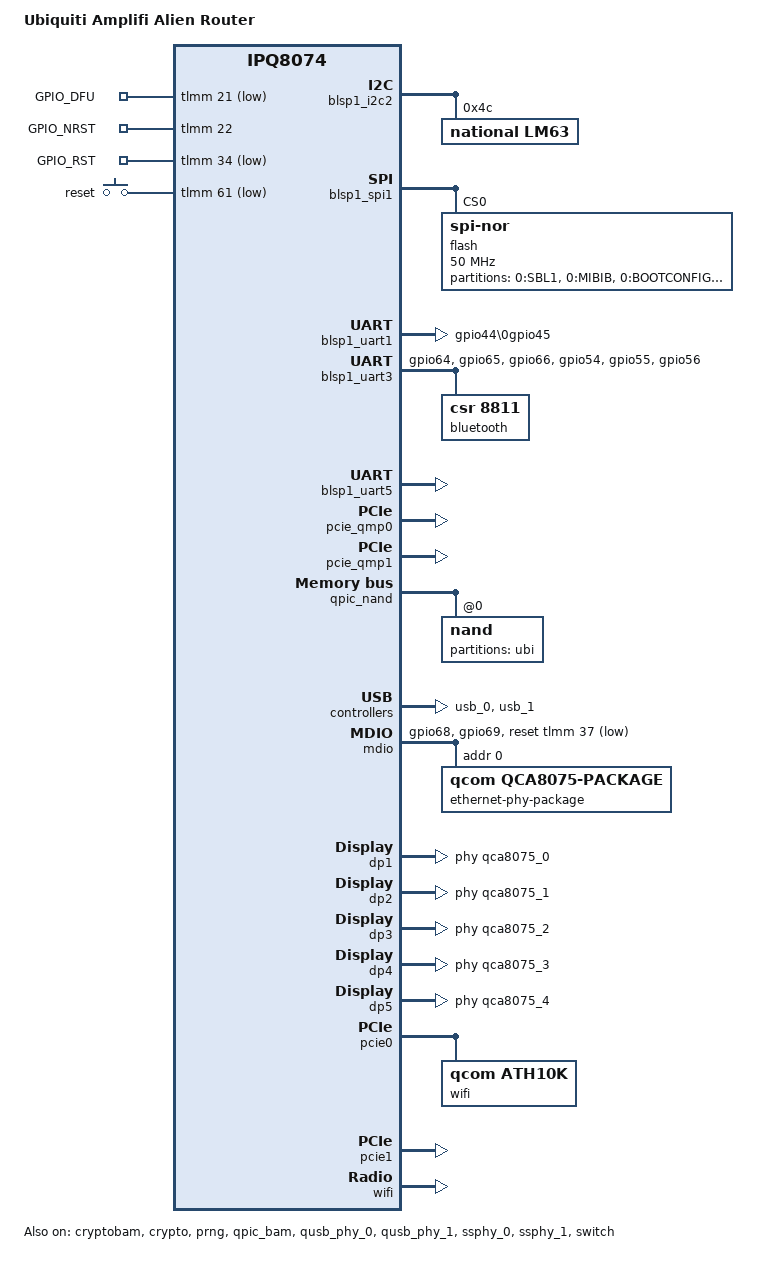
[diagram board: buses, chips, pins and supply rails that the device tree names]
// SPDX-License-Identifier: GPL-2.0-or-later OR MIT
/* Copyright (c) 2022, Robert Marko <robimarko@gmail.com>
altered by Jonathan Brophy <professor_jonny@hotmail.com>
to suit the Ubiquiti Amplifi Alien Router target */

/dts-v1/;

#include "ipq8074.dtsi"
#include "ipq8074-hk-cpu.dtsi"
#include "ipq8074-ess.dtsi"
#include <dt-bindings/gpio/gpio.h>
#include <dt-bindings/input/input.h>
#include <dt-bindings/leds/common.h>

/ {
	model = "Ubiquiti Amplifi Alien Router";
	compatible = "ubiquiti,afi-aln-r", "qcom,ipq8074";

	aliases {
		/* ethernet0 = &dp1; present in stock device but also using nvmem?
		ethernet1 = &dp2;
		ethernet2 = &dp3;
		ethernet3 = &dp4;
		ethernet4 = &dp5; */
		label-mac-device = &dp5;
		serial0 = &blsp1_uart5;
		serial1 = &blsp1_uart3;
		serial2 = &blsp1_uart1;
	};

	chosen {
		stdout-path = "serial0:115200n8";
		bootargs-append = "ubi.mtd=ubi rootfstype=squashfs rootwait swiotlb=1 clk_ignore_unused";
	};

	lcm_boot0 {
		compatible = "gpio-export";
		pinctrl-names = "default";
		pinctrl-0 = <&lcm_pins>;

		/* lcm mode setting:
		   # set dfu mode
		   echo 1 > /sys/class/gpio/gpio${GPIO_DFU}/value
		   echo 0 > /sys/class/gpio/gpio${GPIO_NRST}/value
		   echo 1 > /sys/class/gpio/gpio${GPIO_RST}/value
		   sleep 1
		   echo 1 > /sys/class/gpio/gpio${GPIO_NRST}/value
		   echo 0 > /sys/class/gpio/gpio${GPIO_RST}/value

		   # set run mode
		   echo 0 > /sys/class/gpio/gpio${GPIO_NRST}/value
		   echo 1 > /sys/class/gpio/gpio${GPIO_RST}/value
		   echo 0 > /sys/class/gpio/gpio${GPIO_DFU}/value
		   sleep 1
		   echo 1 > /sys/class/gpio/gpio${GPIO_NRST}/value
		   echo 0 > /sys/class/gpio/gpio${GPIO_RST}/value */

		lcm_boot0 {
			gpio-export,name = "GPIO_DFU"; /* boot0 pin on lcm module */
			gpio-export,output = <0>;
			gpios = <&tlmm 21 GPIO_ACTIVE_LOW>;
		};

		lcm_swnrst {
			gpio-export,name = "GPIO_NRST"; /* nrst pin on lcm module */
			gpio-export,output = <1>;
			gpios = <&tlmm 22 GPIO_ACTIVE_HIGH>;
		};

		lcm_swrst {
			gpio-export,name = "GPIO_RST"; /* lcm module reset */
			gpio-export,output = <0>;
			gpios = <&tlmm 34 GPIO_ACTIVE_LOW>;
		};
	};

	gpio_keys {
		compatible = "gpio-keys";
		pinctrl-0 = <&button_pins>;
		pinctrl-names = "default";

		reset_button {
			label = "reset";
			linux,code = <KEY_RESTART>;
			gpios = <&tlmm 61 GPIO_ACTIVE_LOW>;
		};
	};
};

&tlmm {
	btcoex_pins: btcoex_pins {
		mux_0 {
			pins = "gpio64";
			function = "pta1_1";
			drive-strength = <6>;
			bias-pull-down;
		};

		mux_1 {
			pins = "gpio65";
			function = "pta1_2";
			drive-strength = <6>;
			bias-pull-down;
		};

		mux_2 {
			pins = "gpio66";
			function = "pta1_0";
			drive-strength = <6>;
			bias-pull-down;
		};

		mux_3 {
			pins = "gpio54";
			function = "pta2_0";
			drive-strength = <6>;
			bias-pull-down;
		};

		mux_4 {
			pins = "gpio55";
			function = "pta2_1";
			drive-strength = <6>;
			bias-pull-down;
		};

		mux_5 {
			pins = "gpio56";
			function = "pta2_2";
			drive-strength = <6>;
			bias-pull-down;
		};
	};

	button_pins: button-state {
		pins = "gpio61";
		function = "gpio";
		drive-strength = <8>;
		bias-pull-up;
	};

	lcm_pins: lcm_ctrl_pins {
		lcm_boot0 {
			pins = "gpio21";
			function = "gpio";
			drive-strength = <10>;
			bias-pull-down;
			output-low;
		};

		lcm_swnrst {
			pins = "gpio22";
			function = "gpio";
			drive-strength = <10>;
			bias-pull-up;
			output-high;
		};

		lcm_swrst {
			pins = "gpio34";
			function = "gpio";
			drive-strength = <10>;
			bias-pull-down;
			output-low;
		};
	};

	lcm_uart_pins: blsp1_spi1_pins {
		mux {
			pins = "gpio44\0gpio45";
			function = "blsp1_uart";
			drive-strength = <8>;
			bias-disable;
		};
	};

	pwm_pins: pwm_pins { /* this is not required? pwm node disabled in oem */
		mux {
			pins = "gpio25";
			function = "pwm02";
			drive-strength = <8>;
		};
	};

	mdio_pins: mdio-pins {
		mdc {
			pins = "gpio68";
			function = "mdc";
			drive-strength = <8>;
			bias-pull-up;
		};

		mdio {
			pins = "gpio69";
			function = "mdio";
			drive-strength = <8>;
			bias-pull-up;
		};
	};
};

&blsp1_i2c2 {
	pinctrl-0 = <&i2c_0_pins>;
	pinctrl-names = "default";
	status = "okay";

	lm63@4c {
		compatible = "national,lm63";
		reg = <0x4c>;
		tachometer-en = <0x01>;
		pwm-polarity = <0x00>;
	};
};

&blsp1_spi1 {
	pinctrl-0 = <&spi_0_pins>;
	pinctrl-names = "default";
	cs-gpios = <0>;
	status = "okay";

	flash@0 { /* mx25u6435f 64mb spi_nor flash chip */
		#address-cells = <1>;
		#size-cells = <1>;
		reg = <0>;
		compatible = "jedec,spi-nor";
		spi-max-frequency = <50000000>;

		partitions {
			compatible = "fixed-partitions";
			#address-cells = <1>;
			#size-cells = <1>;

			SBL1@0 {
				label = "0:SBL1";
				reg = <0x00 0x50000>;
				read-only;
			};

			MIBIB@50000 {
				label = "0:MIBIB";
				reg = <0x50000 0x10000>;
				read-only;
			};

			BOOTCONFIG@60000 {
				label = "0:BOOTCONFIG";
				reg = <0x60000 0x20000>;
				read-only;
			};

			BOOTCONFIG1@80000 {
				label = "0:BOOTCONFIG1";
				reg = <0x80000 0x20000>;
				read-only;
			};

			QSEE@a0000 {
				label = "0:QSEE";
				reg = <0xa0000 0x180000>;
				read-only;
			};

			QSEE_1@220000 {
				label = "0:QSEE_1";
				reg = <0x220000 0x180000>;
				read-only;
			};

			DEVCFG@3a0000 {
				label = "0:DEVCFG";
				reg = <0x3a0000 0x10000>;
				read-only;
			};

			DEVCFG_1@3b0000 {
				label = "0:DEVCFG_1";
				reg = <0x3b0000 0x10000>;
				read-only;
			};

			APDP@3c0000 {
				label = "0:APDP";
				reg = <0x3c0000 0x10000>;
				read-only;
			};

			APDP_1@3d0000 {
				label = "0:APDP_1";
				reg = <0x3d0000 0x10000>;
				read-only;
			};

			RPM@3e0000 {
				label = "0:RPM";
				reg = <0x3e0000 0x40000>;
				read-only;
			};

			RPM_1@420000 {
				label = "0:RPM_1";
				reg = <0x420000 0x40000>;
				read-only;
			};

			CDT@460000 {
				label = "0:CDT";
				reg = <0x460000 0x10000>;
				read-only;
			};

			CDT_1@470000 {
				label = "0:CDT_1";
				reg = <0x470000 0x10000>;
				read-only;
			};

			APPSBLENV@480000 {
				label = "0:u-boot-env";
				reg = <0x480000 0x10000>;
			};

			APPSBL@490000 {
				label = "0:u-boot";
				reg = <0x490000 0xa0000>;
				    read-only;  /* Consider adding this */
			};

			APPSBL_1@530000 {
				label = "0:u-boot2";
				reg = <0x530000 0xa0000>;
				    read-only;  /* Consider adding this */
			};

			ART@5d0000 {
				label = "0:ART";
				reg = <0x5d0000 0x40000>;
				read-only;
			};

			eeprom@610000 {
				label = "0:eeprom";
				reg = <0x610000 0x10000>;

				nvmem-layout {
					compatible = "fixed-layout";
					#address-cells = <1>;
					#size-cells = <1>;

					label_mac: label_mac@8018 {
						compatible = "mac-base";
						reg = <0x8018 0x06>;
						#nvmem-cell-cells = <1>;
					};

					caldata_qca9984: caldata@9000 {
						reg = <0x9000 0x2f20>;

						/*	not present on eu model
								edjucated guess of location */
					};
				};
			};

			reserved@620000 {
				label = "0:reserved";
				reg = <0x620000 0x70000>;
				read-only;
			};

			prst@690000 {
				label = "0:prst";
				reg = <0x690000 0x10000>;
			};
		};
	};
};

&blsp1_uart1 {
	pinctrl-0 = <&lcm_uart_pins>;	/* change default pins for uart */
	pinctrl-names = "default";
	status = "okay";

};

&blsp1_uart3 {
	status = "okay";
	pinctrl-0 = <&hsuart_pins &btcoex_pins>;
	pinctrl-names = "default";
	dmas = <&blsp_dma 4>, <&blsp_dma 5>;
	dma-names = "tx", "rx";
	status = "okay";

	bluetooth {
		compatible = "csr,8811";
		//enable-gpios = <&tlmm XX GPIO_ACTIVE_HIGH>; gpio is unknown
	};
};

&blsp1_uart5 {
	status = "okay";
};

&cryptobam {
	status = "okay";
};

&crypto {
	status = "okay";
};

&pcie_qmp0 {
	status = "okay";
};

&pcie_qmp1 {
	status = "okay";
};

&prng {
	status = "okay";
};

&qpic_bam {
	status = "okay";
};

&qpic_nand {
	status = "okay";

	nand@0 {	/* w29n02gz 256mb nand flash chip */
		reg = <0>;
		nand-ecc-strength = <4>;
		nand-ecc-step-size = <512>;
		nand-bus-width = <8>;

		partitions {
			compatible = "fixed-partitions"; /*smem is incorrect set as fixed partitions */
			#address-cells = <0x01>;
			#size-cells = <0x01>;

			ubi@0 {
				compatible = "linux,ubi";
				label = "ubi";
				reg = <0x00 0x010000000>;
			};
		};
	};
};

&qusb_phy_0 {
	status = "okay";
};

&qusb_phy_1 {
	status = "okay";
};

&ssphy_0 {
	status = "okay";
};

&ssphy_1 {
	status = "okay";
};

&usb_0 {
	status = "okay";
};

&usb_1 {
	status = "okay";
};

&mdio {
	status = "okay";

	pinctrl-0 = <&mdio_pins>;
	pinctrl-names = "default";
	reset-gpios = <&tlmm 37 GPIO_ACTIVE_LOW>; /* and &tlmm 31 GPIO_ACTIVE_high? */

	ethernet-phy-package@0 {
		#address-cells = <1>;
		#size-cells = <0>;
		reg = <0>;

		compatible = "qcom,qca8075-package";

		qca8075_0: ethernet-phy@0 {
			compatible = "ethernet-phy-ieee802.3-c22";
			reg = <0>;
		};

		qca8075_1: ethernet-phy@1 {
			compatible = "ethernet-phy-ieee802.3-c22";
			reg = <1>;
		};

		qca8075_2: ethernet-phy@2 {
			compatible = "ethernet-phy-ieee802.3-c22";
			reg = <2>;
		};

		qca8075_3: ethernet-phy@3 {
			compatible = "ethernet-phy-ieee802.3-c22";
			reg = <3>;
		};

		qca8075_4: ethernet-phy@4 {
			compatible = "ethernet-phy-ieee802.3-c22";
			reg = <4>;
		};
	};
};

&switch {
	status = "okay";

	switch_lan_bmp = <(ESS_PORT1 |ESS_PORT2 | ESS_PORT3 | ESS_PORT4 | ESS_PORT4)>; /* lan port bitmap */
	switch_wan_bmp = <ESS_PORT5>; /* wan port bitmap */
	switch_mac_mode = <MAC_MODE_PSGMII>; /* mac mode for uniphy instance */

	qcom,port_phyinfo {
		port@1 {
			port_id = <1>;
			phy_address = <0>;
		};
		port@2 {
			port_id = <2>;
			phy_address = <1>;
		};
		port@3 {
			port_id = <3>;
			phy_address = <2>;
		};
		port@4 {
			port_id = <4>;
			phy_address = <3>;
		};
		port@5 {
			port_id = <5>;
			phy_address = <4>;
		};
	};
};

&edma {
	status = "okay";
};

&dp1 {
	status = "okay";
	phy-handle = <&qca8075_0>;
	label = "lan1";
	nvmem-cells = <&label_mac 4>;
	nvmem-cell-names = "mac-address";
};

&dp2 {
	status = "okay";
	phy-handle = <&qca8075_1>;
	label = "lan2";
	nvmem-cells = <&label_mac 3>;
	nvmem-cell-names = "mac-address";
};

&dp3 {
	status = "okay";
	phy-handle = <&qca8075_2>;
	label = "lan3";
	nvmem-cells = <&label_mac 2>;
	nvmem-cell-names = "mac-address";
};

&dp4 {
	status = "okay";
	phy-handle = <&qca8075_3>;
	label = "lan4";
	nvmem-cells = <&label_mac 1>;
	nvmem-cell-names = "mac-address";
};

&dp5 {
	status = "okay";
	phy-handle = <&qca8075_4>;
	label = "wan";
	nvmem-cells = <&label_mac 0>;
	nvmem-cell-names = "mac-address";
};

&pcie0 { 	/* extra PCIe WI-FI card is only fitted for US market model */
	status = "okay";
	perst-gpio = <&tlmm 58 GPIO_ACTIVE_LOW>;

	bridge@0,0 {
		reg = <0x00000000 0 0 0 0>;
		#address-cells = <3>;
		#size-cells = <2>;
		ranges;

		wifi@1,0 {
			status = "okay";

			compatible = "qcom,ath10k";
			reg = <0x00010000 0 0 0 0>;

			nvmem-cells = <&caldata_qca9984>;
			nvmem-cell-names = "pre-calibration";

		};
	};
};

&pcie1 {
	status = "okay";
	perst-gpios = <&tlmm 62 GPIO_ACTIVE_LOW>; /* overlaping gpio61, set as gpio62 as in other devices */
};

&wifi {
	status = "okay";
	qcom,ath11k-calibration-variant = "ubiquiti_afi-aln-r";
	nvmem-cells = <&label_mac 4>;
	nvmem-cell-names = "mac-address";
};
